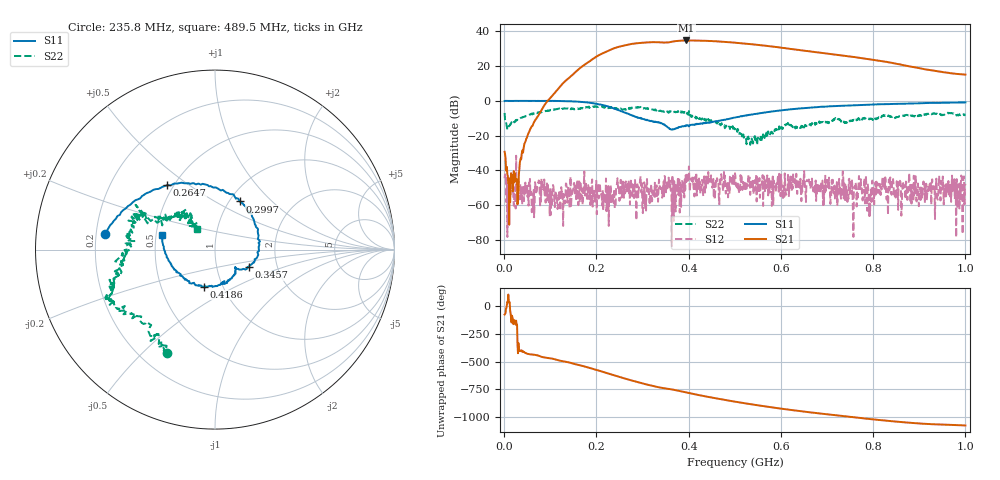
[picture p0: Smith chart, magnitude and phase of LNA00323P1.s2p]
! Created with skrf 1.9.0 (http://scikit-rf.org).
# Hz S RI R 50.0
!freq ReS11 ImS11 ReS21 ImS21 ReS12 ImS12 ReS22 ImS22
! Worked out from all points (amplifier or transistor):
!   1001 points, 1 MHz to 1 GHz, reference 50 ohm
!   highest |S21| = 34.8 dB at 394.6 MHz (marker M1)
!   |S21| within 3 dB of that: 258.3 MHz to 565.5 MHz (307.1 MHz wide, 74.6 % of centre)
!   unconditionally stable (mu >= 1): start of sweep to 72.09 MHz; 207.9 MHz to 400.3 MHz; 400.9 MHz to end of sweep (the widest 3 of 26)
!   at 166.8 MHz: K = 1.26, MAG = 32.2 dB, |S12| = -51.3 dB
!   at 500.5 MHz: K = 1.25, MAG = 34.6 dB, |S12| = -41.6 dB
!   at 1 GHz: K = 3.38, MAG = 23.2 dB, |S12| = -47.7 dB
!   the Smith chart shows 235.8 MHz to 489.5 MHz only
!   S11 on the Smith chart (normalised r, x): 235.8 MHz: 0.24, +0.07; 264.7 MHz: 0.46, +0.41; 299.7 MHz: 1.12, +0.66; 345.7 MHz: 1.43, -0.30; 418.6 MHz: 0.81, -0.35; 489.5 MHz: 0.54, +0.09
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1000000  0.987 0.0125  0.00906 -0.0329  -0.00139 0.00573  0.3165 0.318
1.08892e8  0.5066 -0.8561  -0.7815 -1.451  -0.000608 -0.00119  0.4272 -0.3608
1.67833e8  -0.2581 -0.8917  -9.507 -0.5783  -0.00158 8.94e-05  0.051 -0.6202
2.06794e8  -0.6772 -0.4113  -15.47 14.37  -0.00401 -0.00155  -0.1484 -0.6639
2.35765e8  -0.6111 0.0886  -5.007 31.2  0.000301 -0.00195  -0.2697 -0.5785
2.64736e8  -0.2661 0.3594  18.04 36.19  -0.00391 0.002  -0.4306 -0.3644
2.99701e8  0.1384 0.268  43.36 18.67  0.00078 1.42e-05  -0.5797 -0.2555
3.17683e8  0.2272 0.1276  48.36 3.849  -0.000952 -0.000601  -0.5669 -0.1611
3.34666e8  0.2395 -0.0254  47.58 -9.795  0.000644 0.00277  -0.5209 -0.0681
3.45655e8  0.1894 -0.0985  44.8 -16.64  -0.00123 0.00454  -0.4975 -0.0137
3.71629e8  0.1144 -0.1102  41.13 -32.23  -0.000192 0.000625  -0.4421 0.152
3.94606e8  0.0633 -0.1829  27.88 -47.09  -0.00222 0.00397  -0.4205 0.1867
4.18582e8  -0.063 -0.2064  9.486 -53.13  0.00354 0.00443  -0.2514 0.1671
4.49551e8  -0.2063 -0.1281  -13.41 -50.75  0.00422 0.00158  -0.1649 0.206
4.89511e8  -0.2971 0.0801  -34.02 -34.54  0.00618 -0.00227  -0.1024 0.116
5.005e8  -0.3019 0.1433  -37.42 -29.16  0.00487 0.00669  -0.0957 0.1166
5.4046e8  -0.2103 0.3554  -41.2 -8.148  0.00136 0.00153  -0.0668 0.0212
5.88412e8  0.0114 0.5098  -33.71 11.43  0.00165 -0.00295  -0.1319 -0.0668
6.67333e8  0.4033 0.5034  -12.69 22.57  -0.00238 -0.00529  -0.2262 -0.0229
7.55245e8  0.6906 0.2781  3.707 18.06  -0.00223 -0.000576  -0.2767 0.0414
8.34166e8  0.805 0.0149  9.277 8.85  -0.00466 0.00288  -0.3663 0.047
1e9  0.7247 -0.5354  5.692 0.2772  -0.00407 0.000587  -0.2146 0.3342
